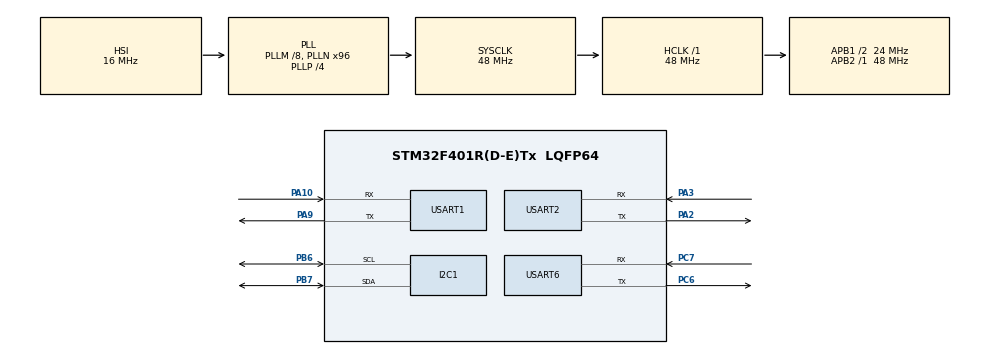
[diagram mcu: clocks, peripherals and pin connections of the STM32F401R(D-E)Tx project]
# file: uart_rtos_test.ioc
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Dma.Request0=USART6_RX
Dma.USART6_RX.0.Direction=DMA_PERIPH_TO_MEMORY
Dma.USART6_RX.0.FIFOMode=DMA_FIFOMODE_DISABLE
Dma.USART6_RX.0.Instance=DMA2_Stream1
Dma.USART6_RX.0.MemDataAlignment=DMA_MDATAALIGN_BYTE
Dma.USART6_RX.0.MemInc=DMA_MINC_ENABLE
Dma.USART6_RX.0.Mode=DMA_NORMAL
Dma.USART6_RX.0.PeriphDataAlignment=DMA_PDATAALIGN_BYTE
Dma.USART6_RX.0.PeriphInc=DMA_PINC_DISABLE
Dma.USART6_RX.0.Priority=DMA_PRIORITY_LOW
FREERTOS.Tasks01=defaultTask,24,128,StartDefaultTask,Default,NULL,Dynamic,NULL,NULL
FREERTOS.configUSE_NEWLIB_REENTRANT=1
Mcu.Family=STM32F4
Mcu.Name=STM32F401R(D-E)Tx
Mcu.Package=LQFP64
NVIC.DMA2_Stream1_IRQn=true\:5\:0\:false\:false\:true\:true\:false\:true\:true
NVIC.PriorityGroup=NVIC_PRIORITYGROUP_4
NVIC.TIM1_UP_TIM10_IRQn=true\:15\:0\:false\:false\:true\:false\:false\:true\:true
NVIC.TimeBase=TIM1_UP_TIM10_IRQn
NVIC.TimeBaseIP=TIM1
NVIC.USART6_IRQn=true\:5\:0\:false\:false\:true\:true\:true\:true\:true
PA10.Mode=Asynchronous
PA10.Signal=USART1_RX
PA2.Mode=Asynchronous
PA2.Signal=USART2_TX
PA3.Mode=Asynchronous
PA3.Signal=USART2_RX
PA9.Mode=Asynchronous
PA9.Signal=USART1_TX
PB6.Mode=I2C
PB6.Signal=I2C1_SCL
PB7.Mode=I2C
PB7.Signal=I2C1_SDA
PC6.Mode=Asynchronous
PC6.Signal=USART6_TX
PC7.Mode=Asynchronous
PC7.Signal=USART6_RX
ProjectManager.HeapSize=0x200
ProjectManager.StackSize=0x400
ProjectManager.TargetToolchain=STM32CubeIDE
RCC.48MHZClocksFreq_Value=48000000
RCC.AHBFreq_Value=48000000
RCC.APB1CLKDivider=RCC_HCLK_DIV2
RCC.APB1Freq_Value=24000000
RCC.APB1TimFreq_Value=48000000
RCC.APB2Freq_Value=48000000
RCC.APB2TimFreq_Value=48000000
RCC.CortexFreq_Value=48000000
RCC.HCLKFreq_Value=48000000
RCC.HSE_VALUE=25000000
RCC.HSI_VALUE=16000000
RCC.LSE_VALUE=32768
RCC.PLLM=8
RCC.PLLN=96
RCC.PLLP=RCC_PLLP_DIV4
RCC.SYSCLKFreq_VALUE=48000000
RCC.SYSCLKSource=RCC_SYSCLKSOURCE_PLLCLK
RCC.VCOOutputFreq_Value=192000000
USART1.VirtualMode=VM_ASYNC
USART2.VirtualMode=VM_ASYNC
USART6.VirtualMode=VM_ASYNC
VP_FREERTOS_VS_CMSIS_V2.Mode=CMSIS_V2
VP_SYS_VS_tim1.Mode=TIM1
board=custom

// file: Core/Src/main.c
/* USER CODE BEGIN Header */
/**
  ******************************************************************************
  * @file           : main.c
  * @brief          : Main program body
  ******************************************************************************
  * @attention
  *
  * Copyright (c) 2025 STMicroelectronics.
  * All rights reserved.
  *
  * This software is licensed under terms that can be found in the LICENSE file
  * in the root directory of this software component.
  * If no LICENSE file comes with this software, it is provided AS-IS.
  *
  ******************************************************************************
  */
/* USER CODE END Header */
#include "main.h"
#include "cmsis_os.h"

/* USER CODE BEGIN Includes */
#include <stdlib.h>
#include <stdio.h>
#include <string.h>
#include <math.h>

/* USER CODE END Includes */

/* USER CODE BEGIN PD */
#define UART_BUFFER_SIZE 256
/* USER CODE END PD */

I2C_HandleTypeDef hi2c1;

UART_HandleTypeDef huart1;
UART_HandleTypeDef huart2;
UART_HandleTypeDef huart6;
DMA_HandleTypeDef hdma_usart6_rx;

/* Definitions for defaultTask */
osThreadId_t defaultTaskHandle;
const osThreadAttr_t defaultTask_attributes = {
  .name = "defaultTask",
  .stack_size = 128 * 4,
  .priority = (osPriority_t) osPriorityNormal,
};
/* USER CODE BEGIN PV */
uint8_t dmaRxBuffer_uart1[UART_BUFFER_SIZE];
uint8_t dmaRxBuffer_uart6[UART_BUFFER_SIZE];

uint8_t ringBuffer_uart1[UART_BUFFER_SIZE];
uint8_t ringBuffer_uart6[UART_BUFFER_SIZE];

volatile uint16_t oldPos_uart1 = 0;
volatile uint16_t oldPos_uart6 = 0;

TaskHandle_t uart1TaskHandle;
TaskHandle_t uart6TaskHandle;

osMutexId_t uart2MutexHandle;
/* USER CODE END PV */

void SystemClock_Config(void);
static void MX_GPIO_Init(void);
static void MX_DMA_Init(void);
static void MX_USART1_UART_Init(void);
static void MX_USART6_UART_Init(void);
static void MX_I2C1_Init(void);
static void MX_USART2_UART_Init(void);
void StartDefaultTask(void *argument);

/* USER CODE BEGIN 0 */

void StartUARTDMAReception(void)
{
    HAL_UART_Receive_DMA(&huart1, dmaRxBuffer_uart1, UART_BUFFER_SIZE);
    HAL_UART_Receive_DMA(&huart6, dmaRxBuffer_uart6, UART_BUFFER_SIZE);

    __HAL_UART_ENABLE_IT(&huart1, UART_IT_IDLE);  // Enable IDLE interrupt
    __HAL_UART_ENABLE_IT(&huart6, UART_IT_IDLE);
}

void StartMutex(void)
{
    const osMutexAttr_t uart2Mutex_attributes = {
        .name = "uart2Mutex"
    };
    uart2MutexHandle = osMutexNew(&uart2Mutex_attributes);
}

void UART1_Task(void *argument)
{
    uint8_t rx_byte;
    char rx_buffer[64];
    uint16_t index = 0;

    for (;;)
    {
    	char test_msg[] = "Task is running\r\n";
    	HAL_UART_Transmit(&huart2, (uint8_t*)test_msg, strlen(test_msg), 100);
    	osDelay(1000);
//        // Blocking receive of 1 byte
//        if (HAL_UART_Receive(&huart1, &rx_byte, 1, HAL_MAX_DELAY) == HAL_OK)
//        {
//            if (rx_byte == '\n' || rx_byte == '\r')
//            {
//                if (index > 0)
//                {
//                    rx_buffer[index] = '\0';  // Null-terminate the string
//
//                    // Convert to float and print to UART2
//                    float yaw = atof((char *)rx_buffer);
//                    char msg[64];
//                    snprintf(msg, sizeof(msg), "Yaw: %.6f\r\n", yaw);
//
//                    HAL_UART_Transmit(&huart2, (uint8_t *)msg, strlen(msg), HAL_MAX_DELAY);
//                    index = 0;  // Reset for next line
//                }
//            }
//            else if (index < sizeof(rx_buffer) - 1)
//            {
//                rx_buffer[index++] = rx_byte;
//            }
//        }
    }
}

void UART6_Task(void *argument)
{
    uint16_t newPos = 0;
    for (;;)
    {
        ulTaskNotifyTake(pdTRUE, portMAX_DELAY);  // Wait until IDLE detected

        newPos = UART_BUFFER_SIZE - __HAL_DMA_GET_COUNTER(huart6.hdmarx);

        if (newPos != oldPos_uart6)
        {
            if (newPos > oldPos_uart6)
            {
                memcpy(ringBuffer_uart6, &dmaRxBuffer_uart6[oldPos_uart6], newPos - oldPos_uart6);
                ringBuffer_uart6[newPos - oldPos_uart6] = '\0';
            }
            else
            {
                memcpy(ringBuffer_uart6, &dmaRxBuffer_uart6[oldPos_uart6], UART_BUFFER_SIZE - oldPos_uart6);
                memcpy(&ringBuffer_uart6[UART_BUFFER_SIZE - oldPos_uart6], dmaRxBuffer_uart6, newPos);
                ringBuffer_uart6[(UART_BUFFER_SIZE - oldPos_uart6) + newPos] = '\0';
            }

            oldPos_uart6 = newPos;

            // Send to UART2
            osMutexAcquire(uart2MutexHandle, osWaitForever);
            HAL_UART_Transmit(&huart2, (uint8_t*)"UART6: ", 7, HAL_MAX_DELAY);
            HAL_UART_Transmit(&huart2, (uint8_t*)ringBuffer_uart6, strlen((char*)ringBuffer_uart6), HAL_MAX_DELAY);
            HAL_UART_Transmit(&huart2, (uint8_t*)"\r\n", 2, HAL_MAX_DELAY);
            osMutexRelease(uart2MutexHandle);
        }
    }
}

//void Task_uart1(void *argument)
//{
//    uint8_t rxData;
//    char buffer[50];
//    while(1)
//    {
//        if (HAL_UART_Receive(&huart1, &rxData, 4, 10) == HAL_OK)
//        {
//            snprintf(buffer, sizeof(buffer), "UART1 Received: %c\r\n", rxData);
//
//            osMutexAcquire(uart2MutexHandle, osWaitForever);
//            HAL_UART_Transmit(&huart2, (uint8_t*)buffer, strlen(buffer), HAL_MAX_DELAY);
//            osMutexRelease(uart2MutexHandle);
//        }
//        osDelay(1);
//    }
//}
//
//void Task_uart6(void *argument)
//{
//    uint8_t rxData;
//    char buffer[50];
//    while(1)
//    {
//        if (HAL_UART_Receive(&huart6, &rxData, 4, 10) == HAL_OK)
//        {
//            snprintf(buffer, sizeof(buffer), "UART6 Received: %c\r\n", rxData);
//
//            osMutexAcquire(uart2MutexHandle, osWaitForever);
//            HAL_UART_Transmit(&huart2, (uint8_t*)buffer, strlen(buffer), HAL_MAX_DELAY);
//            osMutexRelease(uart2MutexHandle);
//        }
//        osDelay(1);
//    }
//}

#ifdef __GNUC__
#define UART_printf   int __io_putchar(int ch)
UART_printf
{
	HAL_UART_Transmit(&huart2, (uint8_t*)&ch, 1, HAL_MAX_DELAY);
	return ch;
}
#endif
/* USER CODE END 0 */

int main(void)
{

  /* MCU Configuration--------------------------------------------------------*/

  /* Reset of all peripherals, Initializes the Flash interface and the Systick. */
  HAL_Init();

  /* Configure the system clock */
  SystemClock_Config();

  /* Initialize all configured peripherals */
  MX_GPIO_Init();
  MX_DMA_Init();
  MX_USART1_UART_Init();
  MX_USART6_UART_Init();
  MX_I2C1_Init();
  MX_USART2_UART_Init();
  /* USER CODE BEGIN 2 */
  printf("sys_Start\n\r");
  StartUARTDMAReception();
  /* USER CODE END 2 */

  /* Init scheduler */
  osKernelInitialize();

  /* USER CODE BEGIN RTOS_MUTEX */
  /* add mutexes, ... */
  StartMutex();
  /* USER CODE END RTOS_MUTEX */

  /* Create the thread(s) */
  /* creation of defaultTask */
  defaultTaskHandle = osThreadNew(StartDefaultTask, NULL, &defaultTask_attributes);

  /* USER CODE BEGIN RTOS_EVENTS */

  osThreadAttr_t uart1Task_attributes = {
    .name = "uart1Task",
    .priority = (osPriority_t) osPriorityNormal,
    .stack_size = 256 * 4
  };
  uart1TaskHandle = osThreadNew(UART1_Task, NULL, &uart1Task_attributes);

//  osThreadAttr_t uart6Task_attributes = {
//    .name = "uart6Task",
//    .priority = (osPriority_t) osPriorityNormal,
//    .stack_size = 256 * 4
//  };
//  uart6TaskHandle = osThreadNew(UART6_Task, NULL, &uart6Task_attributes);
//    osThreadNew(Task_uart1, NULL, &(osThreadAttr_t){
//	  .name = "UART1 Task",
//	  .priority = (osPriority_t)osPriorityAboveNormal1,
//	  .stack_size = 128 * 4
//	});
//
//	osThreadNew(Task_uart6, NULL, &(osThreadAttr_t){
//		.name = "UART6 Task",
//	.priority = (osPriority_t)osPriorityAboveNormal2,
//	.stack_size = 128 * 4
//	});
  /* add events, ... */
  /* USER CODE END RTOS_EVENTS */

  /* Start scheduler */
  osKernelStart();

  /* We should never get here as control is now taken by the scheduler */

  /* Infinite loop */
  while (1)
  {

  }
}

void SystemClock_Config(void)
{
  RCC_OscInitTypeDef RCC_OscInitStruct = {0};
  RCC_ClkInitTypeDef RCC_ClkInitStruct = {0};

  /** Configure the main internal regulator output voltage
  */
  __HAL_RCC_PWR_CLK_ENABLE();
  __HAL_PWR_VOLTAGESCALING_CONFIG(PWR_REGULATOR_VOLTAGE_SCALE2);

  /** Initializes the RCC Oscillators according to the specified parameters
  * in the RCC_OscInitTypeDef structure.
  */
  RCC_OscInitStruct.OscillatorType = RCC_OSCILLATORTYPE_HSI;
  RCC_OscInitStruct.HSIState = RCC_HSI_ON;
  RCC_OscInitStruct.HSICalibrationValue = RCC_HSICALIBRATION_DEFAULT;
  RCC_OscInitStruct.PLL.PLLState = RCC_PLL_ON;
  RCC_OscInitStruct.PLL.PLLSource = RCC_PLLSOURCE_HSI;
  RCC_OscInitStruct.PLL.PLLM = 8;
  RCC_OscInitStruct.PLL.PLLN = 96;
  RCC_OscInitStruct.PLL.PLLP = RCC_PLLP_DIV4;
  RCC_OscInitStruct.PLL.PLLQ = 4;
  if (HAL_RCC_OscConfig(&RCC_OscInitStruct) != HAL_OK)
  {
    Error_Handler();
  }

  /** Initializes the CPU, AHB and APB buses clocks
  */
  RCC_ClkInitStruct.ClockType = RCC_CLOCKTYPE_HCLK|RCC_CLOCKTYPE_SYSCLK
                              |RCC_CLOCKTYPE_PCLK1|RCC_CLOCKTYPE_PCLK2;
  RCC_ClkInitStruct.SYSCLKSource = RCC_SYSCLKSOURCE_PLLCLK;
  RCC_ClkInitStruct.AHBCLKDivider = RCC_SYSCLK_DIV1;
  RCC_ClkInitStruct.APB1CLKDivider = RCC_HCLK_DIV2;
  RCC_ClkInitStruct.APB2CLKDivider = RCC_HCLK_DIV1;

  if (HAL_RCC_ClockConfig(&RCC_ClkInitStruct, FLASH_LATENCY_1) != HAL_OK)
  {
    Error_Handler();
  }
}

static void MX_I2C1_Init(void)
{

  hi2c1.Instance = I2C1;
  hi2c1.Init.ClockSpeed = 100000;
  hi2c1.Init.DutyCycle = I2C_DUTYCYCLE_2;
  hi2c1.Init.OwnAddress1 = 0;
  hi2c1.Init.AddressingMode = I2C_ADDRESSINGMODE_7BIT;
  hi2c1.Init.DualAddressMode = I2C_DUALADDRESS_DISABLE;
  hi2c1.Init.OwnAddress2 = 0;
  hi2c1.Init.GeneralCallMode = I2C_GENERALCALL_DISABLE;
  hi2c1.Init.NoStretchMode = I2C_NOSTRETCH_DISABLE;
  if (HAL_I2C_Init(&hi2c1) != HAL_OK)
  {
    Error_Handler();
  }

}

static void MX_USART1_UART_Init(void)
{

  huart1.Instance = USART1;
  huart1.Init.BaudRate = 115200;
  huart1.Init.WordLength = UART_WORDLENGTH_8B;
  huart1.Init.StopBits = UART_STOPBITS_1;
  huart1.Init.Parity = UART_PARITY_NONE;
  huart1.Init.Mode = UART_MODE_TX_RX;
  huart1.Init.HwFlowCtl = UART_HWCONTROL_NONE;
  huart1.Init.OverSampling = UART_OVERSAMPLING_16;
  if (HAL_UART_Init(&huart1) != HAL_OK)
  {
    Error_Handler();
  }

}

static void MX_USART2_UART_Init(void)
{

  huart2.Instance = USART2;
  huart2.Init.BaudRate = 115200;
  huart2.Init.WordLength = UART_WORDLENGTH_8B;
  huart2.Init.StopBits = UART_STOPBITS_1;
  huart2.Init.Parity = UART_PARITY_NONE;
  huart2.Init.Mode = UART_MODE_TX_RX;
  huart2.Init.HwFlowCtl = UART_HWCONTROL_NONE;
  huart2.Init.OverSampling = UART_OVERSAMPLING_16;
  if (HAL_UART_Init(&huart2) != HAL_OK)
  {
    Error_Handler();
  }

}

static void MX_USART6_UART_Init(void)
{

  huart6.Instance = USART6;
  huart6.Init.BaudRate = 115200;
  huart6.Init.WordLength = UART_WORDLENGTH_8B;
  huart6.Init.StopBits = UART_STOPBITS_1;
  huart6.Init.Parity = UART_PARITY_NONE;
  huart6.Init.Mode = UART_MODE_TX_RX;
  huart6.Init.HwFlowCtl = UART_HWCONTROL_NONE;
  huart6.Init.OverSampling = UART_OVERSAMPLING_16;
  if (HAL_UART_Init(&huart6) != HAL_OK)
  {
    Error_Handler();
  }

}

static void MX_DMA_Init(void)
{

  /* DMA controller clock enable */
  __HAL_RCC_DMA2_CLK_ENABLE();

  /* DMA interrupt init */
  /* DMA2_Stream1_IRQn interrupt configuration */
  HAL_NVIC_SetPriority(DMA2_Stream1_IRQn, 5, 0);
  HAL_NVIC_EnableIRQ(DMA2_Stream1_IRQn);

}

static void MX_GPIO_Init(void)
{

  /* GPIO Ports Clock Enable */
  __HAL_RCC_GPIOA_CLK_ENABLE();
  __HAL_RCC_GPIOC_CLK_ENABLE();
  __HAL_RCC_GPIOB_CLK_ENABLE();

}

void StartDefaultTask(void *argument)
{
  for(;;)
  {
    osDelay(1);
  }
}

void HAL_TIM_PeriodElapsedCallback(TIM_HandleTypeDef *htim)
{
  if (htim->Instance == TIM1) {
    HAL_IncTick();
  }
}

void Error_Handler(void)
{
  __disable_irq();
  while (1)
  {
  }
}
